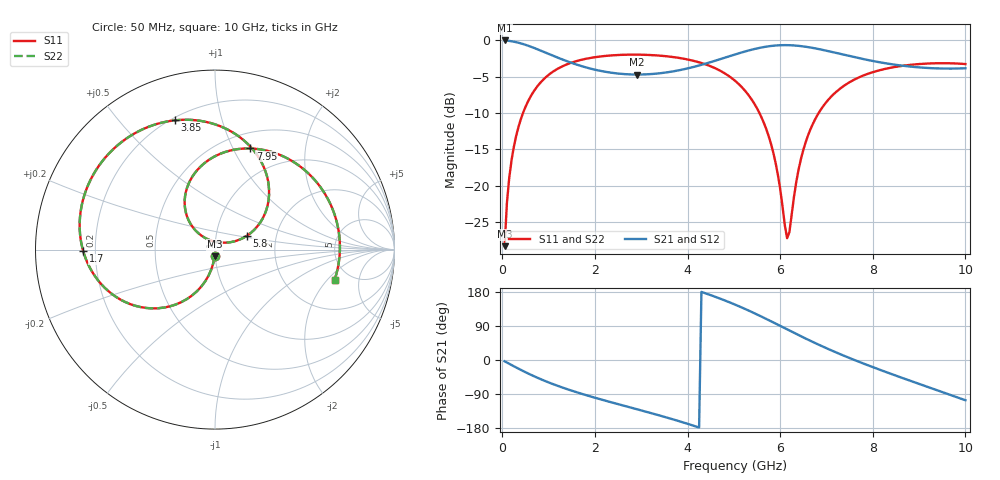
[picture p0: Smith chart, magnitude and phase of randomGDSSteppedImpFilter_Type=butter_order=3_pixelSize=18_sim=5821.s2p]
! freq	dB(S11)	phase(S11)	dB(S12)	phase(S12)
!  dB(S21)	phase(S21)	dB(S22)	phase(S22)
!S-par simulation data
#  GHz  S  DB  R 50
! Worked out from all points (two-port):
!   200 points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, 50 MHz to 10 GHz, reference 50 ohm
!   highest |S21| = -0.01 dB at 50 MHz (marker M1); lowest = -4.7 dB at 2.9 GHz (marker M2)
!   |S21| within 3 dB of the highest: start of sweep to 1.458 GHz; 4.492 GHz to 8.145 GHz (3.654 GHz wide, 57.8 % of centre)
!   lowest |S11| = -28.3 dB at 50 MHz (marker M3), VSWR 1.08, Z = 49.6 - j3.8 ohm
!   |S11| at or under -10 dB: start of sweep to 447.4 MHz; 5.552 GHz to 6.832 GHz (1.28 GHz wide, 20.7 % of centre)
!   |S22| runs from -28.3 to -2.0 dB; largest |S21 - S12| = 0
!   S11 on the Smith chart (normalised r, x): 50 MHz: 0.99, -0.08; 1.7 GHz: 0.15, -0.01; 3.85 GHz: 0.21, +0.71; 5.8 GHz: 1.41, +0.23; 7.95 GHz: 0.67, +1.17; 10 GHz: 3.78, -2.41
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0.05  -28.34 -93.6  -0.01 -3.4  -0.01 -3.4  -28.34 -93.6
0.1  -22.37 -97.2  -0.04 -6.7  -0.04 -6.7  -22.37 -97.2
0.2  -16.49 -103.9  -0.12 -13.3  -0.12 -13.3  -16.49 -103.9
0.5  -9.17 -122.7  -0.61 -32.2  -0.61 -32.2  -9.17 -122.7
1  -4.75 -149.7  -1.86 -59.1  -1.86 -59.1  -4.75 -149.7
1.7  -2.69 -179.2  -3.52 -88.7  -3.52 -88.7  -2.69 -179.3
1.75  -2.61 178.9  -3.62 -90.5  -3.62 -90.5  -2.61 178.9
2.9  -1.96 139.8  -4.70 -129.7  -4.70 -129.7  -1.96 139.8
3.4  -2.10 123.2  -4.53 -146.5  -4.53 -146.5  -2.10 123.2
3.85  -2.45 107.4  -4.07 -162.6  -4.07 -162.6  -2.45 107.3
4.45  -3.44 84.1  -3.09 173.4  -3.09 173.4  -3.44 84.0
5.05  -5.69 57.2  -1.89 145.0  -1.89 145.0  -5.69 57.2
5.5  -9.36 35.5  -1.11 120.2  -1.11 120.2  -9.36 35.4
5.8  -14.20 23.5  -0.77 102.4  -0.77 102.4  -14.21 23.4
6.15  -27.24 72.7  -0.66 80.9  -0.66 80.9  -27.28 72.6
6.45  -16.30 135.5  -0.79 62.6  -0.79 62.6  -16.31 135.6
6.7  -11.58 128.1  -1.03 47.9  -1.03 47.9  -11.58 128.1
7.25  -6.87 102.7  -1.79 17.8  -1.79 17.8  -6.87 102.7
7.95  -4.48 70.7  -2.78 -16.5  -2.78 -16.5  -4.48 70.7
8.35  -3.81 53.5  -3.23 -34.7  -3.23 -34.7  -3.81 53.4
9.2  -3.18 18.3  -3.80 -71.7  -3.80 -71.7  -3.18 18.3
10  -3.26 -14.2  -3.84 -106.2  -3.84 -106.2  -3.26 -14.2
